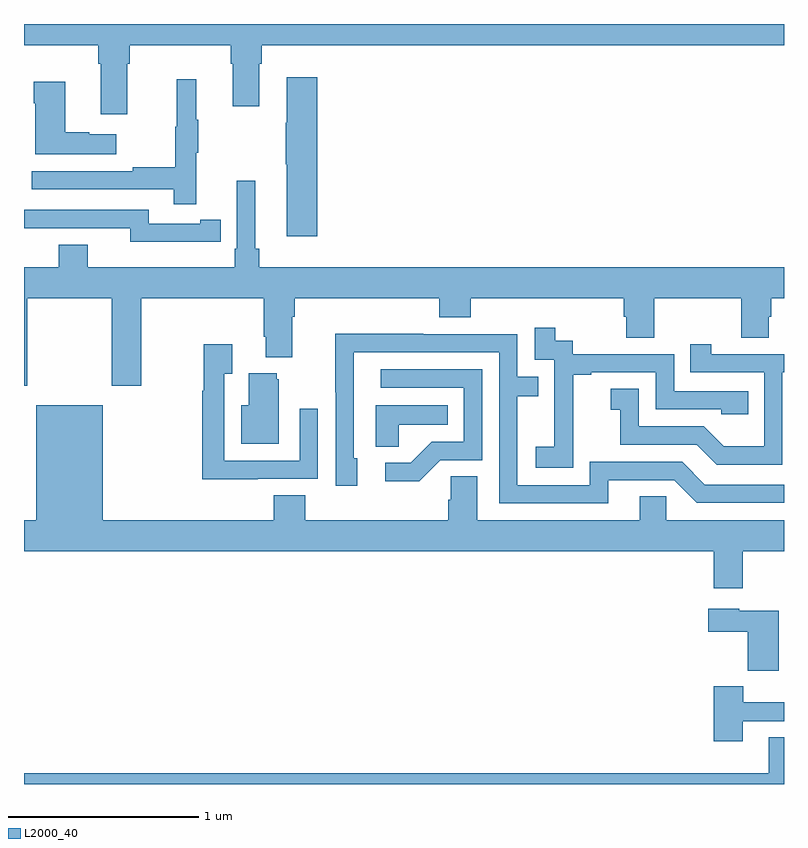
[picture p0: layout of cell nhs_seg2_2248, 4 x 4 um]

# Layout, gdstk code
import gdstk
lib = gdstk.Library(unit=1e-6, precision=1e-09)
def P(c, l, *ps):  # polygons
    for p in ps: c.add(gdstk.Polygon(p, *l))
L2000_40 = (2000, 40)

nhs_seg2_2248 = lib.new_cell('nhs_seg2_2248')
P(nhs_seg2_2248, L2000_40, [(229.543,595.592),(229.556,595.592),(229.556,595.688),(230.087,595.688),(230.087,595.592),(230.099,595.592),(230.099,595.368),(230.239,595.368),(230.239,595.592),(230.252,595.592),(230.252,595.688),(233,595.688),(233,595.8),(229,595.8),(229,595.688),(229.391,595.688),(229.391,595.592),(229.403,595.592),(229.403,595.326),(229.543,595.326)],
  [(230.543,595.519),(230.384,595.519),(230.384,595.28),(230.377,595.28),(230.377,595.063),(230.384,595.063),(230.384,594.684),(230.543,594.684)],
  [(229.907,595.123),(229.918,595.123),(229.918,595.297),(229.907,595.297),(229.907,595.51),(229.804,595.51),(229.804,595.26),(229.797,595.26),(229.797,595.046),(229.573,595.046),(229.573,595.026),(229.041,595.026),(229.041,594.93),(229.789,594.93),(229.789,594.852),(229.907,594.852)],
  [(229.486,595.219),(229.343,595.219),(229.343,595.229),(229.216,595.229),(229.216,595.495),(229.051,595.495),(229.051,595.382),(229.058,595.382),(229.058,595.115),(229.486,595.115)],
  [(229.017,594.356),(229.462,594.356),(229.462,593.895),(229.617,593.895),(229.617,594.356),(230.261,594.356),(230.261,594.154),(230.273,594.154),(230.273,594.047),(230.413,594.047),(230.413,594.26),(230.426,594.26),(230.426,594.356),(231.185,594.356),(231.185,594.257),(231.35,594.257),(231.35,594.356),(232.157,594.356),(232.157,594.258),(232.169,594.258),(232.169,594.148),(232.317,594.148),(232.317,594.356),(232.774,594.356),(232.774,594.148),(232.921,594.148),(232.921,594.258),(232.934,594.258),(232.934,594.356),(233,594.356),(233,594.52),(230.237,594.52),(230.237,594.616),(230.218,594.616),(230.218,594.976),(230.121,594.976),(230.121,594.616),(230.108,594.616),(230.108,594.52),(229.336,594.52),(229.336,594.637),(229.184,594.637),(229.184,594.52),(229,594.52),(229,593.895),(229.017,593.895)],
  [(229.928,594.654),(230.036,594.654),(230.036,594.77),(229.928,594.77),(229.928,594.75),(229.656,594.75),(229.656,594.822),(229,594.822),(229,594.725),(229.1,594.725),(229.1,594.726),(229.56,594.726),(229.56,594.653),(229.928,594.653)],
  [(231.891,593.671),(231.89,593.671),(231.89,593.955),(231.985,593.955),(231.985,593.967),(232.326,593.967),(232.326,593.772),(232.671,593.772),(232.671,593.745),(232.811,593.745),(232.811,593.868),(232.422,593.868),(232.422,594.063),(231.888,594.063),(231.888,594.132),(231.796,594.132),(231.796,594.202),(231.687,594.202),(231.687,594.033),(231.792,594.033),(231.792,593.804),(231.791,593.804),(231.791,593.575),(231.693,593.575),(231.693,593.465),(231.891,593.465)],
  [(232.075,593.4),(232.422,593.4),(232.542,593.28),(233,593.28),(233,593.376),(232.584,593.376),(232.464,593.496),(231.978,593.496),(231.978,593.373),(231.597,593.373),(231.597,593.842),(231.707,593.842),(231.707,593.943),(231.597,593.943),(231.597,594.168),(231.101,594.168),(231.101,594.17),(230.638,594.17),(230.638,593.863),(230.64,593.863),(230.64,593.37),(230.755,593.37),(230.755,593.514),(230.736,593.514),(230.736,594.072),(231.501,594.072),(231.501,593.277),(232.075,593.277)],
  [(230.231,593.406),(230.547,593.406),(230.547,593.776),(230.451,593.776),(230.451,593.502),(230.055,593.502),(230.055,593.959),(230.095,593.959),(230.095,594.115),(229.947,594.115),(229.947,593.87),(229.939,593.87),(229.939,593.405),(230.231,593.405)],
  [(232.992,593.967),(233,593.967),(233,594.063),(232.618,594.063),(232.618,594.115),(232.507,594.115),(232.507,593.967),(232.896,593.967),(232.896,593.578),(232.682,593.578),(232.578,593.682),(232.236,593.682),(232.236,593.881),(232.089,593.881),(232.089,593.771),(232.138,593.771),(232.138,593.586),(232.541,593.586),(232.646,593.481),(232.992,593.481)],
  [(231.192,593.505),(231.411,593.505),(231.411,593.982),(230.877,593.982),(230.877,593.886),(231.315,593.886),(231.315,593.601),(231.146,593.601),(231.035,593.49),(230.901,593.49),(230.901,593.393),(231.079,593.393)],
  [(230.341,593.931),(230.33,593.931),(230.33,593.962),(230.183,593.962),(230.183,593.794),(230.144,593.794),(230.144,593.591),(230.341,593.591)],
  [(232.783,593.024),(233,593.024),(233,593.188),(232.38,593.188),(232.38,593.315),(232.241,593.315),(232.241,593.188),(231.385,593.188),(231.385,593.42),(231.246,593.42),(231.246,593.297),(231.233,593.297),(231.233,593.188),(230.48,593.188),(230.48,593.321),(230.315,593.321),(230.315,593.188),(229.414,593.188),(229.414,593.794),(229.064,593.794),(229.064,593.188),(229,593.188),(229,593.024),(232.631,593.024),(232.631,592.83),(232.783,592.83)],
  [(230.973,593.69),(231.23,593.69),(231.23,593.794),(230.852,593.794),(230.852,593.575),(230.973,593.575)],
  [(232.972,592.711),(232.764,592.711),(232.764,592.723),(232.602,592.723),(232.602,592.601),(232.81,592.601),(232.81,592.397),(232.972,592.397)],
  [(232.783,592.131),(233,592.131),(233,592.231),(232.786,592.231),(232.786,592.315),(232.631,592.315),(232.631,592.026),(232.783,592.026)],
  [(233,592.046),(232.919,592.046),(232.919,591.856),(229,591.856),(229,591.8),(233,591.8)])

lib.write_gds('nhs_seg2_2248.gds')
